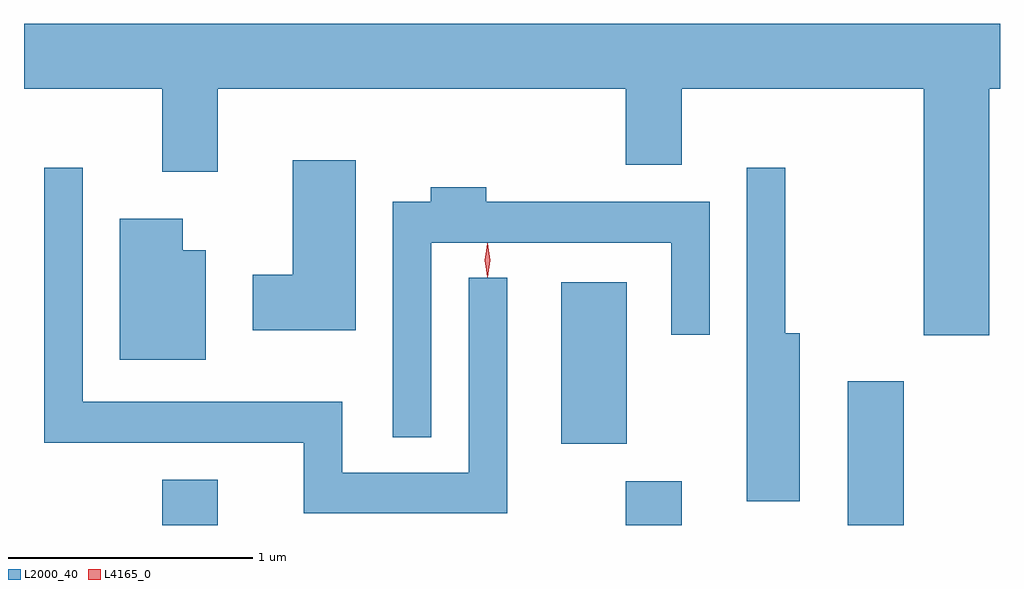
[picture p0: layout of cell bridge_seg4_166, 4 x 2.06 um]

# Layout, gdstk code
import gdstk
lib = gdstk.Library(unit=1e-6, precision=1e-09)
def R(c, l, rs):  # rectangles x0, y0, x1, y1
    for r in rs: c.add(gdstk.rectangle(r[:2], r[2:], *l))
def P(c, l, *ps):  # polygons
    for p in ps: c.add(gdstk.Polygon(p, *l))
L2000_40 = (2000, 40)
L4165_0 = (4165, 0)

bridge_seg4_166 = lib.new_cell('bridge_seg4_166')
R(bridge_seg4_166, L2000_40, [(950.291,1301.827,950.519,1302.014), (952.191,1301.827,952.419,1302.009), (953.101,1301.827,953.329,1302.419), (951.926,1302.161,952.194,1302.824)])
P(bridge_seg4_166, L2000_40, [(953.679,1303.616),(953.724,1303.616),(953.724,1303.884),(949.724,1303.884),(949.724,1303.616),(950.291,1303.616),(950.291,1303.276),(950.519,1303.276),(950.519,1303.616),(952.191,1303.616),(952.191,1303.306),(952.419,1303.306),(952.419,1303.616),(953.411,1303.616),(953.411,1302.606),(953.679,1302.606)],
  [(951.084,1303.324),(950.826,1303.324),(950.826,1302.854),(950.661,1302.854),(950.661,1302.626),(951.084,1302.626)],
  [(952.904,1302.614),(952.844,1302.614),(952.844,1303.293),(952.686,1303.293),(952.686,1301.926),(952.904,1301.926)],
  [(951.704,1302.843),(951.546,1302.843),(951.546,1302.044),(951.029,1302.044),(951.029,1302.334),(949.964,1302.334),(949.964,1303.293),(949.806,1303.293),(949.806,1302.166),(950.871,1302.166),(950.871,1301.876),(951.704,1301.876)],
  [(951.394,1302.986),(952.376,1302.986),(952.376,1302.608),(952.534,1302.608),(952.534,1303.154),(951.619,1303.154),(951.619,1303.214),(951.391,1303.214),(951.391,1303.154),(951.236,1303.154),(951.236,1302.188),(951.394,1302.188)],
  [(950.469,1302.954),(950.374,1302.954),(950.374,1303.084),(950.116,1303.084),(950.116,1302.506),(950.469,1302.506)])
P(bridge_seg4_166, L4165_0, [(951.623,1302.847),(951.622,1302.848),(951.613,1302.914),(951.622,1302.98),(951.623,1302.981),(951.623,1302.98),(951.633,1302.914),(951.623,1302.848)],
  [(951.623,1302.844),(951.614,1302.914),(951.623,1302.983),(951.624,1302.983),(951.624,1302.983),(951.634,1302.914),(951.624,1302.844),(951.624,1302.844)])

lib.write_gds('bridge_seg4_166.gds')
